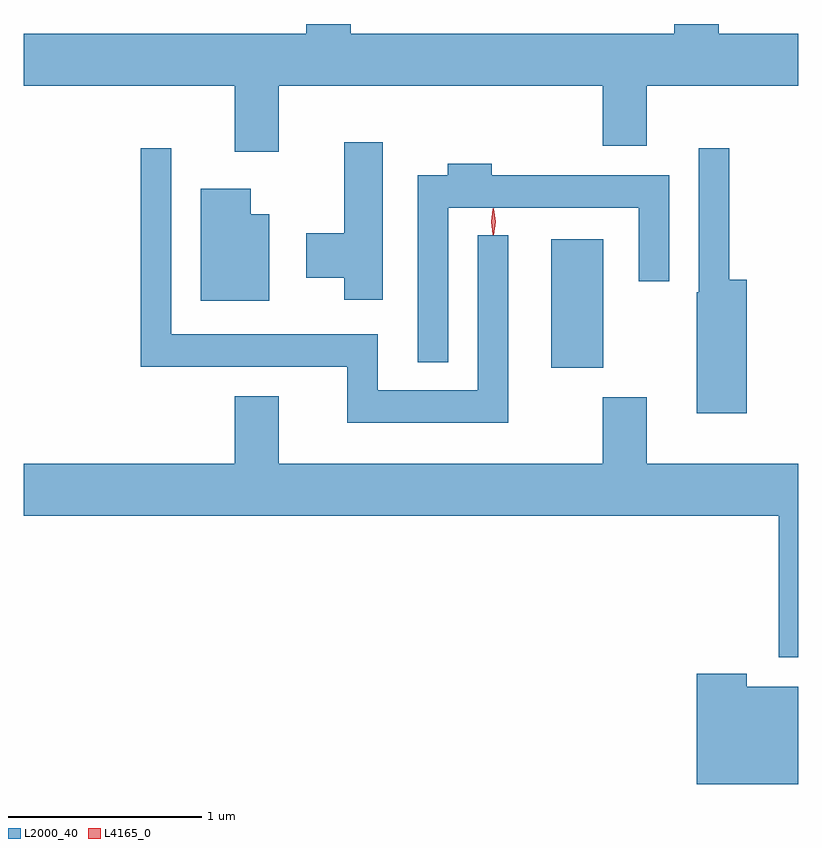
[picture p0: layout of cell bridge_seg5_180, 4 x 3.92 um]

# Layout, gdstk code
import gdstk
lib = gdstk.Library(unit=1e-6, precision=1e-09)
def R(c, l, rs):  # rectangles x0, y0, x1, y1
    for r in rs: c.add(gdstk.rectangle(r[:2], r[2:], *l))
def P(c, l, *ps):  # polygons
    for p in ps: c.add(gdstk.Polygon(p, *l))
L2000_40 = (2000, 40)
L4165_0 = (4165, 0)

bridge_seg5_180 = lib.new_cell('bridge_seg5_180')
R(bridge_seg5_180, L2000_40, [(1259.766,1417.601,1260.034,1418.264)])
P(bridge_seg5_180, L2000_40, [(1257.041,1419.056),(1258.131,1419.056),(1258.131,1418.716),(1258.359,1418.716),(1258.359,1419.056),(1260.031,1419.056),(1260.031,1418.746),(1260.259,1418.746),(1260.259,1419.056),(1261.041,1419.056),(1261.041,1419.324),(1260.629,1419.324),(1260.629,1419.375),(1260.401,1419.375),(1260.401,1419.324),(1258.729,1419.324),(1258.729,1419.375),(1258.501,1419.375),(1258.501,1419.324),(1257.041,1419.324)],
  [(1258.894,1418.764),(1258.696,1418.764),(1258.696,1418.294),(1258.501,1418.294),(1258.501,1418.066),(1258.696,1418.066),(1258.696,1417.951),(1258.894,1417.951)],
  [(1260.774,1418.054),(1260.684,1418.054),(1260.684,1418.733),(1260.526,1418.733),(1260.526,1417.99),(1260.516,1417.99),(1260.516,1417.366),(1260.774,1417.366)],
  [(1259.544,1418.283),(1259.386,1418.283),(1259.386,1417.484),(1258.869,1417.484),(1258.869,1417.774),(1257.804,1417.774),(1257.804,1418.733),(1257.646,1418.733),(1257.646,1417.606),(1258.711,1417.606),(1258.711,1417.316),(1259.544,1417.316)],
  [(1259.234,1418.426),(1260.216,1418.426),(1260.216,1418.048),(1260.374,1418.048),(1260.374,1418.594),(1259.459,1418.594),(1259.459,1418.654),(1259.231,1418.654),(1259.231,1418.594),(1259.076,1418.594),(1259.076,1417.628),(1259.234,1417.628)],
  [(1258.309,1418.394),(1258.214,1418.394),(1258.214,1418.524),(1257.956,1418.524),(1257.956,1417.946),(1258.309,1417.946)],
  [(1261.041,1417.104),(1260.259,1417.104),(1260.259,1417.449),(1260.031,1417.449),(1260.031,1417.104),(1258.359,1417.104),(1258.359,1417.454),(1258.131,1417.454),(1258.131,1417.104),(1257.041,1417.104),(1257.041,1416.836),(1260.941,1416.836),(1260.941,1416.106),(1261.041,1416.106)],
  [(1261.041,1415.954),(1260.774,1415.954),(1260.774,1416.019),(1260.516,1416.019),(1260.516,1415.451),(1261.041,1415.451)])
P(bridge_seg5_180, L4165_0, [(1259.465,1418.287),(1259.464,1418.288),(1259.455,1418.354),(1259.464,1418.42),(1259.465,1418.421),(1259.465,1418.42),(1259.475,1418.354),(1259.465,1418.288)],
  [(1259.468,1418.283),(1259.467,1418.284),(1259.458,1418.353),(1259.467,1418.422),(1259.468,1418.423),(1259.468,1418.422),(1259.478,1418.353),(1259.468,1418.284)])

lib.write_gds('bridge_seg5_180.gds')
